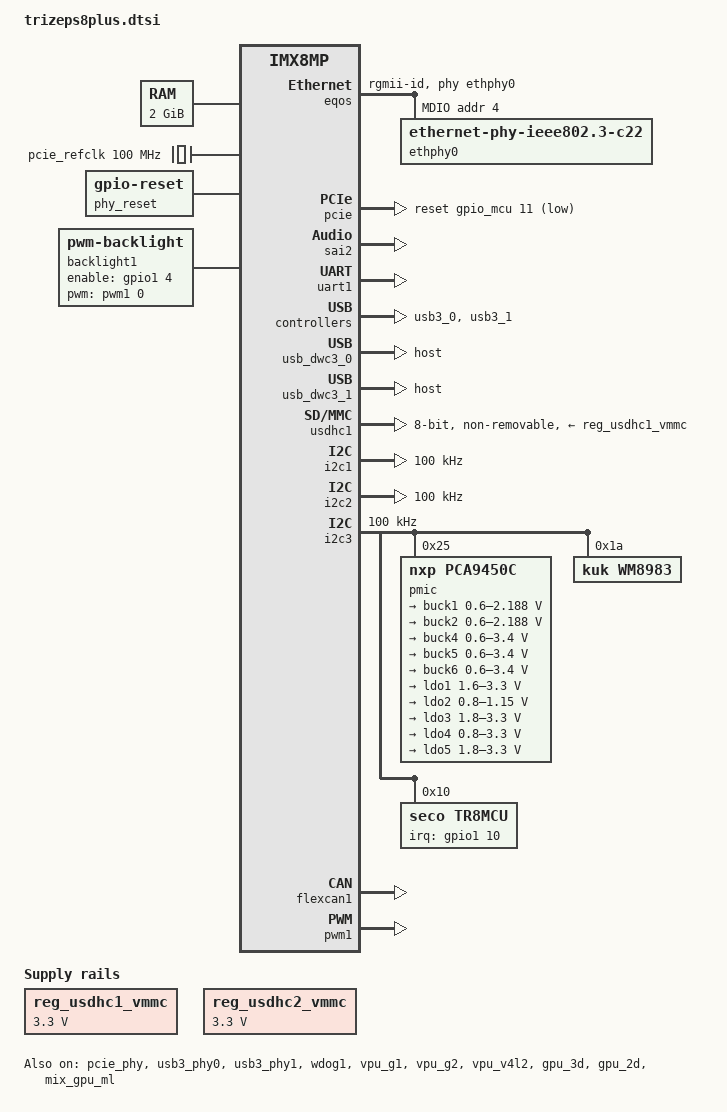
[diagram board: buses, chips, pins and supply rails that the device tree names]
/*
 * Copyright 2023 SECO Northern Europe GmbH
 */

/*
Switches:

    ETHERNET_ONLY_100MBIT		Reduce Ethernet to 100MBit in case extra lanes for 1GBit are not connected on the baseboard.


*/

#include "imx8mp.dtsi"
#include "trizeps8plus-pinfunc.h"

#define TRIZEPS_HOGGRP_COMMON

/ {
	firmware {
		android {
			compatible = "android,firmware";
			/* default emmc node used for GSI */
			boot_devices         = "soc@0/soc@0:bus@30800000/30b40000.mmc";
			/* sd card node which used if androidboot.boot_device_root=mmcblk0 */
			boot_devices_mmcblk0 = "soc@0/soc@0:bus@30800000/30b40000.mmc";
			/* emmc node which used if androidboot.boot_device_root=mmcblk2 */
			/* boot_devices_mmcblk2 = "soc@0/soc@0:bus@30800000/30b60000.mmc"; */
			boot_devices_mmcblk1 = "soc@0/soc@0:bus@30800000/30b50000.mmc";
			fstab {
				compatible = "android,fstab";
				system {
					compatible = "android,system";
					dev = "system";
					type = "ext4";
					mnt_flags = "noatime,errors=panic,ro,barrier=1,inode_readahead_blks=8";
					fsmgr_flags = "wait,slotselect,avb,avb_keys=/avb,logical,first_stage_mount";
				};
				system_ext {
					compatible = "android,system_ext";
					dev = "system_ext";
					type = "ext4";
					mnt_flags = "noatime,ro,errors=panic";
					fsmgr_flags = "wait,slotselect,avb,logical,first_stage_mount";
				};
				vendor {
					compatible = "android,vendor";
					dev = "vendor";
					type = "ext4";
					mnt_flags = "noatime,errors=panic,ro,barrier=1,inode_readahead_blks=8";
					fsmgr_flags = "wait,slotselect,avb,logical,first_stage_mount";
				};
				product {
					compatible = "android,product";
					dev = "product";
					type = "ext4";
					mnt_flags = "noatime,errors=panic,ro,barrier=1,inode_readahead_blks=8";
					fsmgr_flags = "wait,slotselect,avb,logical,first_stage_mount";
				};
				metadata {
					compatible = "android,metadata";
					dev = "/dev/block/by-name/metadata";
					type = "ext4";
					mnt_flags = "noatime,nosuid,nodev,discard,sync";
					fsmgr_flags = "wait,formattable,first_stage_mount,check";
				};
			};

			vbmeta {
				/*we need use FirstStageMountVBootV2 if we enable avb*/
				compatible = "android,vbmeta";
				/*parts means the partition witch can be mount in first stage*/
				parts = "vbmeta,dtbo,boot,system,vendor,product";
			};
		};
	};
};

#if 0
/ {
	trusty {
		compatible = "android,trusty-smc-v1";
		ranges;
		#address-cells = <2>;
		#size-cells = <2>;
		trusty-irq {
			compatible = "android,trusty-irq-v1";
			interrupt-templates = <&trusty_ipi 0>;
			interrupt-ranges = < 0 15 0>;
		};
		trusty-virtio {
			compatible = "android,trusty-virtio-v1";
		};
		trusty-log {
			compatible = "android,trusty-log-v1";
		};
	};

	trusty_ipi: interrupt-controller@0 {
		compatible = "android,CustomIPI";
		interrupt-controller;
		#interrupt-cells = <1>;
	};
};
#endif

/ {

	chosen {
		stdout-path = &uart1;
	};

	memory@40000000 {
		device_type = "memory";
		reg = <0x0 0x40000000 0 0x80000000>;
	};

	reserved-memory {
		#address-cells = <2>;
		#size-cells = <2>;
		ranges;

		rpmsg_reserved: rpmsg@0xb8000000 {
			no-map;
			reg = <0 0xb8000000 0 0x400000>;
		};
	};

	panel_lvds: panel {
		status          = "disabled";
		compatible      = "panel-lvds";
		backlight = <&backlight1>;
	};

	pcie_refclk: pcie-refclk {
		compatible = "fixed-clock";
		#clock-cells = <0>;
		clock-frequency = <100000000>;
	};

	phy_reset: phy-reset {
		compatible = "gpio-reset";
		reset-gpios = <enet_reset_gpio GPIO_ACTIVE_LOW>;
		reset-delay-us = <2000>;
		reset-post-delay-ms = <40>;
		#reset-cells = <0>;
	};

	reg_usdhc1_vmmc: usdhc1_vmmc {
		compatible = "regulator-fixed";
		regulator-name = "VMMC_USDHC1";
		regulator-min-microvolt = <3300000>;
		regulator-max-microvolt = <3300000>;
		enable-active-high;
	};

	reg_usdhc2_vmmc: regulator-usdhc2 {
		compatible = "regulator-fixed";
		regulator-name = "VMMC_USDHC2";
		regulator-min-microvolt = <3300000>;
		regulator-max-microvolt = <3300000>;
		enable-active-high;
	};

#if defined(TRIZEPS8MINI_BT_SCO_XTOR) && (TRIZEPS8MINI_BT_SCO_XTOR==1)
	sound-xtor {
		compatible = "fsl,imx-audio-xtor";
		model = "xtor-audio";
		cpu-dai = <&sai3>;
		status = "okay";
	};
#else
#if 0
	bt_sco_codec: bt_sco_codec {
		#sound-dai-cells = <0>;
		compatible = "linux,bt-sco";
	};

	sound-bt-sco {
		compatible = "simple-audio-card";
		simple-audio-card,name = "bt-sco-audio";
		simple-audio-card,format = "i2s";
		simple-audio-card,bitclock-inversion;
		simple-audio-card,frame-master = <&btcpu>;
		simple-audio-card,bitclock-master = <&btcpu>;

		btcpu: simple-audio-card,cpu {
			sound-dai = <&sai2>;
			dai-tdm-slot-num = <2>;
			dai-tdm-slot-width = <16>;
		};

		simple-audio-card,codec {
			sound-dai = <&bt_sco_codec>;
		};
	};
#endif
#endif
		sound_hdmi: sound-hdmi {
			compatible = "fsl,imx-audio-cdnhdmi";
			model = "audio-hdmi";
			audio-cpu = <&aud2htx>;
			hdmi-out;
			constraint-rate = <44100>,
					<88200>,
					<176400>,
					<32000>,
					<48000>,
					<96000>,
					<192000>;
			status = "disabled";
		};

	sound_wm8983: sound-wm8983 {
		compatible = "simple-audio-card";
		status = "okay";
		simple-audio-card,name = "wm8983-audio";
		simple-audio-card,format = "i2s";
		simple-audio-card,frame-master = <&cpudai>;
		simple-audio-card,bitclock-master = <&cpudai>;
		simple-audio-card,widgets =
			"Headphone", "Headphone Jack",
			"Speaker", "Speaker", 
			"Line","LineIn Jack",
			"Microphone", "Microphone";
		simple-audio-card,routing =
			"Headphone Jack", "HPL",
			"Headphone Jack", "HPR",
			"Headphone Jack", "OUT4",
			"Speaker", "SPKL",
			"Speaker", "SPKR",
			"LineIn Jack", "L2",
			"LineIn Jack", "R2",
			"Microphone", "LIP",
			"Microphone", "LIN",
			"Microphone", "MICBIAS";

		cpudai: simple-audio-card,cpu {
			sound-dai = <&sai2>;
			dai-tdm-slot-num = <2>;
			dai-tdm-slot-width = <32>;
		};

		simple-audio-card,codec {
			sound-dai = <&wm8983>;
			clocks = <&clk IMX8MP_CLK_SAI2_ROOT>;
		};
	};

	sound-micfil {
		compatible = "fsl,imx-audio-micfil";
		model = "imx-audio-micfil";
		cpu-dai = <&micfil>;
	};

	backlight1: backlight1 {
		compatible = "pwm-backlight";
		pwms = <&pwm1 0 100000 0>;
		brightness-levels = < 0  1  2  3  4  5  6  7  8  9
				     10 11 12 13 14 15 16 17 18 19
				     20 21 22 23 24 25 26 27 28 29
				     30 31 32 33 34 35 36 37 38 39
				     40 41 42 43 44 45 46 47 48 49
				     50 51 52 53 54 55 56 57 58 59
				     60 61 62 63 64 65 66 67 68 69
				     70 71 72 73 74 75 76 77 78 79
				     80 81 82 83 84 85 86 87 88 89
				     90 91 92 93 94 95 96 97 98 99
				    100>;
		default-brightness-level = <80>;
		status = "disabled";
 	};
};

&A53_0 {
	cpu-supply = <&buck2>;
};

&A53_1 {
	cpu-supply = <&buck2>;
};

&A53_2 {
	cpu-supply = <&buck2>;
};

&A53_3 {
	cpu-supply = <&buck2>;
};

#if 0
&ddrc {
	operating-points-v2 = <&ddrc_opp_table>;
	ddrc_opp_table: opp-table {
	compatible = "operating-points-v2";
	opp-25M {
			opp-hz = /bits/ 64 <25000000>;
		};

	opp-100M {
			opp-hz = /bits/ 64 <100000000>;
		};

	opp-750M {
			opp-hz = /bits/ 64 <750000000>;
		};
	};
};
#endif

&eqos {
	pinctrl-names = "default";
	pinctrl-0 = <&pinctrl_eqos>;
	phy-mode = "rgmii-id";
	phy-handle = <&ethphy0>;
	resets = <&phy_reset>;
	reset-names = "stmmaceth";
	status = "okay";

	mdio {
		compatible = "snps,dwmac-mdio";
		#address-cells = <1>;
		#size-cells = <0>;

		ethphy0: ethernet-phy@-1 {
			compatible = "ethernet-phy-ieee802.3-c22";
			reg = <4>;
			eee-broken-1000t;
			eee-broken-100tx;
			at803x,eee-disabled;
			at803x,vddio-1p8v;
#if defined(ETHERNET_ONLY_100MBIT) && (ETHERNET_ONLY_100MBIT==1)
			max-speed = <100>;
			at803x,100MBit;
#endif
		};
	};
};

/* Taken from imx8mp-evk.dts and imx8mp-ddr4-evk.dts adapted */
&pcie{
	pinctrl-names = "default";
	pinctrl-0 = <&pinctrl_pcie>;
	//disable-gpio    = <&gpio_mcu 11 GPIO_ACTIVE_LOW>;
	reset-gpio      = <&gpio_mcu 11 GPIO_ACTIVE_LOW>;
	clocks = <&clk IMX8MP_CLK_HSIO_ROOT>,
			 <&clk IMX8MP_CLK_PCIE_AUX>,
			 <&clk IMX8MP_CLK_HSIO_AXI>,
			 <&clk IMX8MP_CLK_PCIE_ROOT>;
	clock-names = "pcie", "pcie_aux", "pcie_phy", "pcie_bus";
	assigned-clocks = <&clk IMX8MP_CLK_HSIO_AXI>,
					  <&clk IMX8MP_CLK_PCIE_AUX>;
	assigned-clock-rates = <400000000>, <10000000>;
	assigned-clock-parents = <&clk IMX8MP_SYS_PLL1_800M>,
							 <&clk IMX8MP_SYS_PLL2_50M>;
	l1ss-disabled;
	hard-wired      = <1>;
	ext_osc = <0>;
	reserved-region = <&rpmsg_reserved>;
	status = "okay";
};

&pcie_phy{
	ext_osc = <0>;
	status = "okay";
};

#if 0
&clk {
	assigned-clocks = <&clk IMX8MP_AUDIO_PLL1>, <&clk IMX8MP_AUDIO_PLL2>;
	assigned-clock-rates = <786432000>, <722534400>;
/*	assigned-clock-rates = <393216000>, <361267200>; */
};
#endif

&gpio5 {
	kukmiscinit = <1>;
};

#if 0
&sai3 {
	pinctrl-names = "default";
	pinctrl-0 = <&pinctrl_sai3>;
	assigned-clocks = <&clk IMX8MP_CLK_SAI3>;
	assigned-clock-parents = <&clk IMX8MP_AUDIO_PLL1_OUT>;
	assigned-clock-rates = <49152000>;
	status = "okay";
};
#endif

&sai2 {
	#sound-dai-cells = <0>;
	pinctrl-names = "default";
	pinctrl-0 = <&pinctrl_sai2>;
	assigned-clocks = <&clk IMX8MP_CLK_SAI2>;
	assigned-clock-parents = <&clk IMX8MP_AUDIO_PLL1_OUT>;
	assigned-clock-rates = <24576000>;
	status = "okay";
};

#if 0
&spdif1 {
	pinctrl-names = "default";
	pinctrl-0 = <&pinctrl_spdif1>;
	assigned-clocks = <&clk IMX8MP_CLK_SPDIF1>;
	assigned-clock-parents = <&clk IMX8MP_AUDIO_PLL1_OUT>;
	assigned-clock-rates = <24576000>;
	clocks = <&clk IMX8MP_CLK_AUDIO_AHB>, <&clk IMX8MP_CLK_24M>,
		<&clk IMX8MP_CLK_SPDIF1>, <&clk IMX8MP_CLK_DUMMY>,
		<&clk IMX8MP_CLK_DUMMY>, <&clk IMX8MP_CLK_DUMMY>,
		<&clk IMX8MP_CLK_AUDIO_AHB>, <&clk IMX8MP_CLK_DUMMY>,
		<&clk IMX8MP_CLK_DUMMY>, <&clk IMX8MP_CLK_DUMMY>,
		<&clk IMX8MP_AUDIO_PLL1_OUT>, <&clk IMX8MP_AUDIO_PLL2_OUT>;
	clock-names = "core", "rxtx0", "rxtx1", "rxtx2", "rxtx3",
		"rxtx4", "rxtx5", "rxtx6", "rxtx7", "spba", "pll8k", "pll11k";
	status = "disabled";
};
#endif

&snvs_pwrkey {
	status = "disabled";
};

/* Set cma size to 320M */
&{/reserved-memory/linux,cma} {
	size = <0 0x14000000>;
};

&uart1 {
	pinctrl-names = "default";
	pinctrl-0 = <&pinctrl_uart1>;
	assigned-clocks = <&clk IMX8MP_CLK_UART1>;
	assigned-clock-parents = <&clk IMX8MP_SYS_PLL1_80M>;
	fsl,uart-has-rtscts;
	status = "okay";
};

&uart2 {
	pinctrl-names = "default";
	pinctrl-0 = <&pinctrl_uart2_cts>;
	assigned-clocks = <&clk IMX8MP_CLK_UART2>;
	assigned-clock-parents = <&clk IMX8MP_SYS_PLL1_80M>;
	status = "disabled";
};

&uart3 {
	pinctrl-names = "default";
	pinctrl-0 = <&pinctrl_uart3_cts>;
	assigned-clocks = <&clk IMX8MP_CLK_UART3>;
	assigned-clock-parents = <&clk IMX8MP_SYS_PLL1_80M>;
	status = "disabled";
};

&uart4 {
	pinctrl-names = "default";
	pinctrl-0 = <&pinctrl_uart4>;
	assigned-clocks = <&clk IMX8MP_CLK_UART4>;
	assigned-clock-parents = <&clk IMX8MP_SYS_PLL1_80M>;
	status = "disabled";
};

&usb3_0 {
	status = "okay";
};

&usb_dwc3_0 {
	//dr_mode = "otg";
	dr_mode = "host";
	hnp-disable;
	srp-disable;
	adp-disable;
	//usb-role-switch;
	//role-switch-default-mode = "none";
	status = "okay";
};

&usb3_phy0 {
	fsl,phy-tx-vref-tune = <0xe>;
	fsl,phy-tx-preemp-amp-tune = <3>;
	fsl,phy-tx-vboost-level = <5>;
	fsl,phy-comp-dis-tune = <7>;
	fsl,pcs-tx-deemph-3p5db = <0x21>;
	fsl,phy-pcs-tx-swing-full = <0x7f>;
	status = "okay";
};

&usb3_phy1 {
	fsl,phy-tx-preemp-amp-tune = <3>;
	fsl,phy-tx-vref-tune = <0xb>;
	status = "okay";
};

&usb3_1 {
	status = "okay";
};

&usb_dwc3_1 {
	dr_mode = "host";
	status = "okay";
#if 0
	pinctrl-names = "default";
	pinctrl-0 = <&pinctrl_usb1_vbus>;
	// in the pconx dtsi files the usb regulators are set to always on
	pinctrl_usb1_vbus: usb1grp {
		fsl,pins = <
			MX8MP_IOMUXC_GPIO1_IO14__USB2_PWR		0x19
		>;
	};
#endif
};


#if 0
&usb_otg1 {
	dr_mode = "otg";
	hnp-disable;
	srp-disable;
	adp-disable;
	usb-role-switch;
	picophy,pre-emp-curr-control = <3>;
	picophy,dc-vol-level-adjust = <7>;
	status = "okay";
};

&usb_otg2 {
	dr_mode = "host";
	hnp-disable;
	srp-disable;
	adp-disable;
	usb-role-switch;
	picophy,pre-emp-curr-control = <3>;
	picophy,dc-vol-level-adjust = <7>;
	status = "okay";
};
#endif

&usdhc1 {
	pinctrl-names = "default", "state_100mhz", "state_200mhz";
	pinctrl-0 = <&pinctrl_usdhc1>, <&pinctrl_usdhc1_gpio>;
	pinctrl-1 = <&pinctrl_usdhc1_100mhz>, <&pinctrl_usdhc1_gpio>;
	pinctrl-2 = <&pinctrl_usdhc1_200mhz>, <&pinctrl_usdhc1_gpio>;
	bus-width = <8>;
	vmmc-supply = <&reg_usdhc1_vmmc>;
	non-removable;
#if 0 // TODO implement 1.8 V support
	vqmmc-supply = <&mcutouch>;
#else
	no-1-8-v;
#endif
	status = "okay";
};

#if 0
&usdhc2 {
	pinctrl-names = "default", "state_100mhz", "state_200mhz";
	pinctrl-0 = <&pinctrl_usdhc2>, <&pinctrl_usdhc2_gpio>;
	pinctrl-1 = <&pinctrl_usdhc2_100mhz>, <&pinctrl_usdhc2_gpio>;
	pinctrl-2 = <&pinctrl_usdhc2_200mhz>, <&pinctrl_usdhc2_gpio>;
	cd-gpios = <spin59_gpio GPIO_ACTIVE_LOW>;
	bus-width = <4>;
	vmmc-supply = <&reg_usdhc2_vmmc>;
	pm-ignore-notify;
	keep-power-in-suspend;
#if defined(TRIZEPS8MINI_USDHC2_VQMMC_MCU) && (TRIZEPS8MINI_USDHC2_VQMMC_MCU==1)
	vqmmc-supply = <&mcutouch>;
#else
	no-1-8-v;
#endif
	status = "okay";
};
#endif

&wdog1 {
	pinctrl-names = "default";
	pinctrl-0 = <&pinctrl_wdog>;
	fsl,ext-reset-output;
	status = "okay";
};

&i2c1 { /* I2C on SODIMM 94,96 */
	clock-frequency = <100000>;
	pinctrl-names = "default";
	pinctrl-0 = <&pinctrl_i2c1>;
	status = "okay";
};

&i2c2 { /* I2C on SODIMM 194,196 */
	clock-frequency = <100000>;
	pinctrl-names = "default";
	pinctrl-0 = <&pinctrl_i2c2>;
	status = "okay";
};

&i2c3 { /* Internal I2C */
	clock-frequency = <100000>;
	pinctrl-names = "default";
	pinctrl-0 = <&pinctrl_i2c3>;
	status = "okay";

	pmic: pca9450@25 {
		reg = <0x25>;
		compatible = "nxp,pca9450c";

		status = "okay";
		/* PMIC PCA9450 PMIC_nINT GPIO1_IO3 */
		/* IRQ not connected on Trizeps 
		pinctrl-0 = <&pinctrl_pmic>;
		interrupt-parent = <&gpio1>;
		interrupts = <3 GPIO_ACTIVE_LOW>;
		*/

		regulators {
			buck1: BUCK1 {
				regulator-name = "BUCK1";
				regulator-min-microvolt = <600000>;
				regulator-max-microvolt = <2187500>;
				regulator-boot-on;
				regulator-always-on;
				regulator-ramp-delay = <3125>;
			};

			buck2: BUCK2 {
				regulator-name = "BUCK2";
				regulator-min-microvolt = <600000>;
				regulator-max-microvolt = <2187500>;
				regulator-boot-on;
				regulator-always-on;
				regulator-ramp-delay = <3125>;
				nxp,dvs-run-voltage = <950000>;
				nxp,dvs-standby-voltage = <850000>;
			};

			buck4: BUCK4{
				regulator-name = "BUCK4";
				regulator-min-microvolt = <600000>;
				regulator-max-microvolt = <3400000>;
				regulator-boot-on;
				regulator-always-on;
			};

			buck5: BUCK5{
				regulator-name = "BUCK5";
				regulator-min-microvolt = <600000>;
				regulator-max-microvolt = <3400000>;
				regulator-boot-on;
				regulator-always-on;
			};

			buck6: BUCK6 {
				regulator-name = "BUCK6";
				regulator-min-microvolt = <600000>;
				regulator-max-microvolt = <3400000>;
				regulator-boot-on;
				regulator-always-on;
			};

			ldo1: LDO1 {
				regulator-name = "LDO1";
				regulator-min-microvolt = <1600000>;
				regulator-max-microvolt = <3300000>;
				regulator-boot-on;
				regulator-always-on;
			};

			ldo2: LDO2 {
				regulator-name = "LDO2";
				regulator-min-microvolt = <800000>;
				regulator-max-microvolt = <1150000>;
				regulator-boot-on;
				regulator-always-on;
			};

			ldo3: LDO3 {
				regulator-name = "LDO3";
				regulator-min-microvolt = <1800000>;
				regulator-max-microvolt = <3300000>;
				regulator-boot-on;
				regulator-always-on;
			};

			ldo4: LDO4 {
				regulator-name = "LDO4";
				regulator-min-microvolt = <800000>;
				regulator-max-microvolt = <3300000>;
				regulator-boot-on;
				regulator-always-on;
			};

			ldo5: LDO5 {
				regulator-name = "LDO5";
				regulator-min-microvolt = <1800000>;
				regulator-max-microvolt = <3300000>;
				regulator-boot-on;
				regulator-always-on;
			};
		};
	};

	wm8983: wm8983@1a {	/* Audio-Codec */
		#sound-dai-cells = <0>;
		compatible = "kuk,wm8983";
		status = "okay";
		reg = <0x1a>;
		clocks = <&clk IMX8MP_CLK_SAI2_ROOT>;
		clock-names = "mclk";
	};

#if 0
	sn65dsi84@2c {
		status = "disabled";
		compatible = "ti,sn65dsi84";
		reg = <0x2c>;
		enable-gpios =<lvds_en_gpio GPIO_ACTIVE_HIGH>;

		pinctrl-names = "default";
		pinctrl-0 = <&pinctrl_i2c3_sn65dsi84_en>;
	};
	
	mcutouch: kuk_tr8mcu_touch@10 { /* Kinetis MCU and touch-controller */
		compatible = "kuk,kuk-tr8mcu-touch";
		reg = <0x10>;
		regulator-name = "sd_pwr";
		regulator-min-microvolt = <1800000>;
		regulator-max-microvolt = <3300000>;
		pinctrl-names = "default";
		pinctrl-0 = <&pinctrl_restouch>;
		interrupts-extended = <&gpio2 20 IRQ_TYPE_LEVEL_LOW>;
		xscale              = <800>;
		yscale              = <480>;
		xmin                = <306>;
		xmax                = <3781>;
		ymin                = <692>;
		ymax                = <3459>;
		settle              = <10>;
		average             = <25>;
		yreverse            = "true" ;
		enable_touch        = "false";
		linux,wakeup;
	};
#endif
	tr8mcu: tr8mcu@10 { /* Kinetis MCU and touch-controller */
		compatible = "seco,tr8mcu";
		reg = <0x10>;

		pinctrl-0 = <&pinctrl_tr8mcu>;
		interrupt-parent = <&gpio1>;
		interrupts = <10 GPIO_ACTIVE_LOW>;

		status = "okay";

		gpio_mcu: tr8mcu-gpios {
			compatible = "seco,tr8mcu-gpio";
			status = "okay";
			gpio-controller;
			#gpio-cells = <2>;

			// Map the 'SODIMM' offsets according to
			// https://secogroup.atlassian.net/wiki/x/KQE6Vg
			// to the gpiochipX offset 0-16
			gpio-mapping = < 2 4 6 8 14 16 18 20 87 75 99 251>;

			gpio-line-names =
				"SPIN2", "SPIN4", "SPIN6", "SPIN8",
				"SPIN14", "SPIN16", "SPIN18", "SPIN20",
				"SPIN87", "SPIN75", "SPIN99", "nPCIE_RESET";
		};
	};
};

&flexcan1 {
	pinctrl-names = "default";
	pinctrl-0 = <&pinctrl_flexcan1>;
	status = "okay";
};

&iomuxc {
	pinctrl-names = "default";

	pinctrl_eqos: eqosgrp {
		fsl,pins = <
			MX8MP_IOMUXC_ENET_MDC__ENET_QOS_MDC		0x3
			MX8MP_IOMUXC_ENET_MDIO__ENET_QOS_MDIO		0x3
			MX8MP_IOMUXC_ENET_RD0__ENET_QOS_RGMII_RD0	0x91
			MX8MP_IOMUXC_ENET_RD1__ENET_QOS_RGMII_RD1	0x91
			MX8MP_IOMUXC_ENET_RD2__ENET_QOS_RGMII_RD2	0x91
			MX8MP_IOMUXC_ENET_RD3__ENET_QOS_RGMII_RD3	0x91
			MX8MP_IOMUXC_ENET_RXC__CCM_ENET_QOS_CLOCK_GENERATE_RX_CLK	0x91
			MX8MP_IOMUXC_ENET_RX_CTL__ENET_QOS_RGMII_RX_CTL	0x91
			MX8MP_IOMUXC_ENET_TD0__ENET_QOS_RGMII_TD0	0x1f
			MX8MP_IOMUXC_ENET_TD1__ENET_QOS_RGMII_TD1	0x1f
			MX8MP_IOMUXC_ENET_TD2__ENET_QOS_RGMII_TD2	0x1f
			MX8MP_IOMUXC_ENET_TD3__ENET_QOS_RGMII_TD3	0x1f
			MX8MP_IOMUXC_ENET_TX_CTL__ENET_QOS_RGMII_TX_CTL	0x1f
			MX8MP_IOMUXC_ENET_TXC__CCM_ENET_QOS_CLOCK_GENERATE_TX_CLK	0x1f

			ENET_RESET_GPIO1_IO09		0x19
		>;
	};

#if 0
	pinctrl_fec: fecgrp {
		fsl,pins = <
			MX8MP_IOMUXC_ENET_MDC__ENET_QOS_MDC			0x3
			MX8MP_IOMUXC_ENET_MDIO__ENET_QOS_MDIO		0x3
			MX8MP_IOMUXC_ENET_TD3__ENET_QOS_RGMII_TD3		0x1f
			MX8MP_IOMUXC_ENET_TD2__ENET_QOS_RGMII_TD2		0x1f
			MX8MP_IOMUXC_ENET_TD1__ENET_QOS_RGMII_TD1		0x1f
			MX8MP_IOMUXC_ENET_TD0__ENET_QOS_RGMII_TD0		0x1f
			MX8MP_IOMUXC_ENET_RD3__ENET_QOS_RGMII_RD3		0x91
			MX8MP_IOMUXC_ENET_RD2__ENET_QOS_RGMII_RD2		0x91
			MX8MP_IOMUXC_ENET_RD1__ENET_QOS_RGMII_RD1		0x91
			MX8MP_IOMUXC_ENET_RD0__ENET_QOS_RGMII_RD0		0x91
			MX8MP_IOMUXC_ENET_TXC__CCM_ENET_QOS_CLOCK_GENERATE_TX_CLK		0x1f
			MX8MP_IOMUXC_ENET_RXC__CCM_ENET_QOS_CLOCK_GENERATE_RX_CLK		0x91
			MX8MP_IOMUXC_ENET_RX_CTL__ENET_QOS_RGMII_RX_CTL	0x91
			MX8MP_IOMUXC_ENET_TX_CTL__ENET_QOS_RGMII_TX_CTL	0x1f
			MX8MP_IOMUXC_GPIO1_IO09__GPIO1_IO09		0x19
		>;
	};
#endif

	pinctrl_i2c1: i2c1grp {
		fsl,pins = <
			MX8MP_IOMUXC_I2C1_SCL__I2C1_SCL			0x400001c3
			MX8MP_IOMUXC_I2C1_SDA__I2C1_SDA			0x400001c3
		>;
	};

	pinctrl_i2c2: i2c2grp {
		fsl,pins = <
			MX8MP_IOMUXC_I2C2_SCL__I2C2_SCL			0x400001c3
			MX8MP_IOMUXC_I2C2_SDA__I2C2_SDA			0x400001c3
		>;
	};

	pinctrl_i2c3: i2c3grp {
		fsl,pins = <
			MX8MP_IOMUXC_I2C3_SCL__I2C3_SCL			0x400001c3
			MX8MP_IOMUXC_I2C3_SDA__I2C3_SDA			0x400001c3
		>;
	};

	pinctrl_sai2: sai2grp {
		fsl,pins = <
			MX8MP_IOMUXC_SAI2_MCLK__AUDIOMIX_SAI2_MCLK 0xd6
			MX8MP_IOMUXC_SAI2_RXD0__AUDIOMIX_SAI2_RX_DATA00 0xd6
			MX8MP_IOMUXC_SAI2_TXC__AUDIOMIX_SAI2_TX_BCLK 0xd6
			MX8MP_IOMUXC_SAI2_TXD0__AUDIOMIX_SAI2_TX_DATA00 0xd6
			MX8MP_IOMUXC_SAI2_TXFS__AUDIOMIX_SAI2_TX_SYNC 0xd6
		>;
	};

#if 0
	pinctrl_sai3: sai3grp {
		fsl,pins = <
			MX8MP_IOMUXC_SAI3_RXFS_SAI3_RX_SYNC     0x1d6
			MX8MP_IOMUXC_SAI3_RXC_SAI3_RX_BCLK      0x1d6
			MX8MP_IOMUXC_SAI3_RXD_SAI3_RX_DATA0     0x196
			MX8MP_IOMUXC_SAI3_TXD_SAI3_TX_DATA0     0x196
		>;
	};

	pinctrl_spdif1: spdif1grp {
		fsl,pins = <
			MX8MP_IOMUXC_SPDIF_TX_SPDIF1_OUT	0xd6
			MX8MP_IOMUXC_SPDIF_RX_SPDIF1_IN		0xd6
		>;
	};
#endif

	pinctrl_uart1: uart1grp {
		fsl,pins = <
			MX8MP_IOMUXC_UART1_RXD__UART1_DCE_RX	0x140
			MX8MP_IOMUXC_UART1_TXD__UART1_DCE_TX	0x140
		>;
	};

	pinctrl_uart2: uart2grp {
		fsl,pins = <
			MX8MP_IOMUXC_UART2_RXD__UART2_DCE_RX	0x140
			MX8MP_IOMUXC_UART2_TXD__UART2_DCE_TX	0x140
		>;
	};

	pinctrl_uart2_cts: uart2ctsgrp {
		fsl,pins = <
			MX8MP_IOMUXC_UART2_RXD__UART2_DCE_RX	0x140
			MX8MP_IOMUXC_UART4_TXD__UART2_DTE_CTS	0x140
			MX8MP_IOMUXC_UART2_TXD__UART2_DCE_TX	0x140
			MX8MP_IOMUXC_UART4_RXD__UART2_DTE_RTS	0x140
		>;
	};

	pinctrl_uart3: uart3grp {
		fsl,pins = <
			MX8MP_IOMUXC_ECSPI1_SCLK__UART3_DCE_RX	0x140
			MX8MP_IOMUXC_ECSPI1_MOSI__UART3_DCE_TX	0x140
		>;
	};

	pinctrl_uart3_cts: uart3ctsgrp {
		fsl,pins = <
			MX8MP_IOMUXC_ECSPI1_SCLK__UART3_DCE_RX		0x140
			MX8MP_IOMUXC_ECSPI1_SS0__UART3_DTE_CTS		0x140
			MX8MP_IOMUXC_ECSPI1_MOSI__UART3_DCE_TX		0x140
			MX8MP_IOMUXC_ECSPI1_MISO__UART3_DTE_RTS		0x140
		>;
	};

	pinctrl_uart4: uart4grp {
		fsl,pins = <
			MX8MP_IOMUXC_ECSPI2_SCLK__UART4_DCE_RX		0x140
			MX8MP_IOMUXC_ECSPI2_MOSI__UART4_DCE_TX		0x140
		>;
	};

	pinctrl_usdhc1_gpio: usdhc1grpgpio {
		fsl,pins = <
			MX8MP_IOMUXC_SD1_RESET_B__USDHC1_RESET_B	0xc1
		>;
	};

	pinctrl_usdhc1: usdhc1grp {
		fsl,pins = <
			MX8MP_IOMUXC_SD1_CLK__USDHC1_CLK		0x190
			MX8MP_IOMUXC_SD1_CMD__USDHC1_CMD		0x1d0
			MX8MP_IOMUXC_SD1_DATA0__USDHC1_DATA0	0x1d0
			MX8MP_IOMUXC_SD1_DATA1__USDHC1_DATA1	0x1d0
			MX8MP_IOMUXC_SD1_DATA2__USDHC1_DATA2	0x1d0
			MX8MP_IOMUXC_SD1_DATA3__USDHC1_DATA3	0x1d0
			MX8MP_IOMUXC_SD1_DATA4__USDHC1_DATA4	0x1d0
			MX8MP_IOMUXC_SD1_DATA5__USDHC1_DATA5	0x1d0
			MX8MP_IOMUXC_SD1_DATA6__USDHC1_DATA6	0x1d0
			MX8MP_IOMUXC_SD1_DATA7__USDHC1_DATA7	0x1d0
			MX8MP_IOMUXC_SD1_STROBE__USDHC1_STROBE	0x190
		>;
	};

	pinctrl_usdhc1_100mhz: usdhc1grp100mhz {
		fsl,pins = <
			MX8MP_IOMUXC_SD1_CLK__USDHC1_CLK		0x194
			MX8MP_IOMUXC_SD1_CMD__USDHC1_CMD		0x1d4
			MX8MP_IOMUXC_SD1_DATA0__USDHC1_DATA0	0x1d4
			MX8MP_IOMUXC_SD1_DATA1__USDHC1_DATA1	0x1d4
			MX8MP_IOMUXC_SD1_DATA2__USDHC1_DATA2	0x1d4
			MX8MP_IOMUXC_SD1_DATA3__USDHC1_DATA3	0x1d4
			MX8MP_IOMUXC_SD1_DATA4__USDHC1_DATA4	0x1d4
			MX8MP_IOMUXC_SD1_DATA5__USDHC1_DATA5	0x1d4
			MX8MP_IOMUXC_SD1_DATA6__USDHC1_DATA6	0x1d4
			MX8MP_IOMUXC_SD1_DATA7__USDHC1_DATA7	0x1d4
			MX8MP_IOMUXC_SD1_STROBE__USDHC1_STROBE	0x194
		>;
	};

	pinctrl_usdhc1_200mhz: usdhc1grp200mhz {
		fsl,pins = <
			MX8MP_IOMUXC_SD1_CLK__USDHC1_CLK		0x196
			MX8MP_IOMUXC_SD1_CMD__USDHC1_CMD		0x1d6
			MX8MP_IOMUXC_SD1_DATA0__USDHC1_DATA0	0x1d6
			MX8MP_IOMUXC_SD1_DATA1__USDHC1_DATA1	0x1d6
			MX8MP_IOMUXC_SD1_DATA2__USDHC1_DATA2	0x1d6
			MX8MP_IOMUXC_SD1_DATA3__USDHC1_DATA3	0x1d6
			MX8MP_IOMUXC_SD1_DATA4__USDHC1_DATA4	0x1d6
			MX8MP_IOMUXC_SD1_DATA5__USDHC1_DATA5	0x1d6
			MX8MP_IOMUXC_SD1_DATA6__USDHC1_DATA6	0x1d6
			MX8MP_IOMUXC_SD1_DATA7__USDHC1_DATA7	0x1d6
			MX8MP_IOMUXC_SD1_STROBE__USDHC1_STROBE	0x196
		>;
	};

	pinctrl_usdhc2_gpio: usdhc2grpgpio {
		fsl,pins = <
			SPIN59_GPIO		0x1c4
		>;
	};

#if 0
	pinctrl_usdhc2: usdhc2grp {
		fsl,pins = <
			MX8MP_IOMUXC_SD2_CLK_USDHC2_CLK		0x190
			MX8MP_IOMUXC_SD2_CMD_USDHC2_CMD		0x1d0
			MX8MP_IOMUXC_SD2_DATA0_USDHC2_DATA0	0x1d0
			MX8MP_IOMUXC_SD2_DATA1_USDHC2_DATA1	0x1d0
			MX8MP_IOMUXC_SD2_DATA2_USDHC2_DATA2	0x1d0
			MX8MP_IOMUXC_SD2_DATA3_USDHC2_DATA3	0x1d0
		>;
	};

	pinctrl_usdhc2_100mhz: usdhc2grp100mhz {
		fsl,pins = <
			MX8MP_IOMUXC_SD2_CLK_USDHC2_CLK		0x194
			MX8MP_IOMUXC_SD2_CMD_USDHC2_CMD		0x1d4
			MX8MP_IOMUXC_SD2_DATA0_USDHC2_DATA0	0x1d4
			MX8MP_IOMUXC_SD2_DATA1_USDHC2_DATA1	0x1d4
			MX8MP_IOMUXC_SD2_DATA2_USDHC2_DATA2	0x1d4
			MX8MP_IOMUXC_SD2_DATA3_USDHC2_DATA3	0x1d4
		>;
	};

	pinctrl_usdhc2_200mhz: usdhc2grp200mhz {
		fsl,pins = <
			MX8MP_IOMUXC_SD2_CLK_USDHC2_CLK		0x196
			MX8MP_IOMUXC_SD2_CMD_USDHC2_CMD		0x1d6
			MX8MP_IOMUXC_SD2_DATA0_USDHC2_DATA0	0x1d6
			MX8MP_IOMUXC_SD2_DATA1_USDHC2_DATA1	0x1d6
			MX8MP_IOMUXC_SD2_DATA2_USDHC2_DATA2	0x1d6
			MX8MP_IOMUXC_SD2_DATA3_USDHC2_DATA3	0x1d6
		>;
	};
#endif

	pinctrl_wdog: wdoggrp {
		fsl,pins = <
			MX8MP_IOMUXC_GPIO1_IO02__WDOG1_WDOG_B	0xc6
		>;
	};

	pinctrl_display_enable: display-enable 	{
		fsl,pins = < DISPLAY_ENABLE		PAD_GPIO_PU >; /* DISPLAY_ENABLE */
	};

	pinctrl_restouch: restouchgrp {
		fsl,pins = < MCU_INT_GPIO       PAD_GPIO >; /* MCU Interrupt */
	};

	pinctrl_tr8mcu: tr8mcugrp {
		fsl,pins = < MCU_INT_GPIO       PAD_GPIO >; /* MCU Interrupt */
	};

#if 0
	pinctrl_i2c3_sn65dsi84_en: sn65dsi84_iogrp {
		fsl,pins = < LVDS_EN_GPIO  PAD_GPIO  >; /* Myon internal LVDS Enable and external Pin0-72 */
	};
#endif

	pinctrl_flexcan1: flexcan1grp {
		fsl,pins = <
			SPIN97_CAN1_RX	0x00000106
			SPIN99_CAN1_TX	0x00000106
		>;
	};

	pinctrl_pcie: pciegrp {
		fsl,pins = <
			MX8MP_IOMUXC_I2C4_SCL__PCIE_CLKREQ_B		0x61 // open drain, pull up
			/* PCIE_RESET is connected to MCU, which does not need any pinctrl */
			>;
	};
};

#if 0
&lcdif {
	status = "okay";
};
#endif

&pwm1 {
	pinctrl-names = "default";
	pinctrl-0 = <&pinctrl_backlight_pwm1>;
	status = "okay";
};

&backlight1 {
	status = "okay";
	pinctrl-names = "default";
	pinctrl-0 = <&pinctrl_backlight_enable>;
	enable-gpios = <&gpio1 4 GPIO_ACTIVE_HIGH>;
};

&vpu_g1 {
	status = "okay";
};

&vpu_g2 {
	status = "okay";
};

/* The VPU is currently not working, disable it to enable SW decoding by default. */
//&vpu_vc8000e {
//	status = "okay";
//};

&vpu_v4l2 {
	status = "okay";
};

&gpu_3d {
	status = "okay";
};

&gpu_2d {
	status = "okay";
};

&mix_gpu_ml {
	status = "okay";
};
